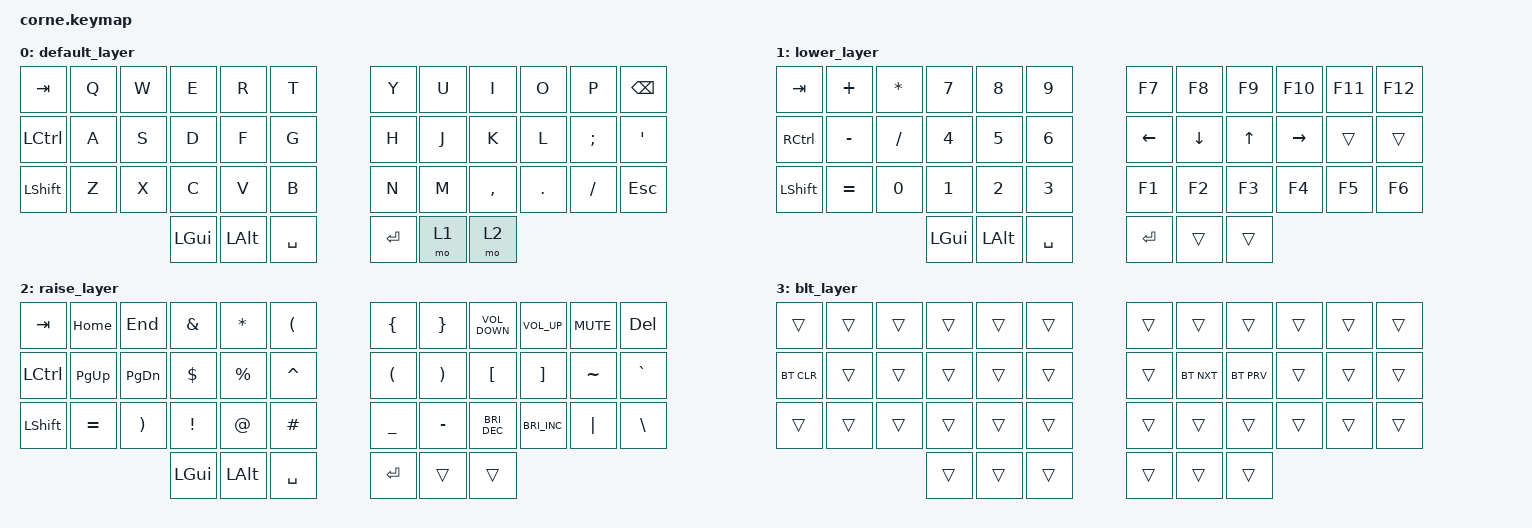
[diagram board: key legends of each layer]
/*
 * Copyright (c) 2020 The ZMK Contributors
 *
 * SPDX-License-Identifier: MIT
 */

#include <behaviors.dtsi>
#include <dt-bindings/zmk/bt.h>
#include <dt-bindings/zmk/keys.h>

/ {
    combos {
        compatible = "zmk,combos";

        blt_layer {
            bindings = <&mo 3>;
            key-positions = <40 41>;
        };
    };

    keymap {
        compatible = "zmk,keymap";

        default_layer {
            // -----------------------------------------------------------------------------------------
            // |  TAB |  Q  |  W  |  E  |  R  |  T  |   |  Y  |  U   |  I  |  O  |  P  | BKSP |
            // | CTRL |  A  |  S  |  D  |  F  |  G  |   |  H  |  J   |  K  |  L  |  ;  |  '   |
            // | SHFT |  Z  |  X  |  C  |  V  |  B  |   |  N  |  M   |  ,  |  .  |  /  | ESC  |
            //                    | GUI | LWR | SPC |   | ENT | RSE  | ALT |

            bindings = <
&kp TAB    &kp Q  &kp W  &kp E     &kp R         &kp T        &kp Y    &kp U  &kp I      &kp O    &kp P     &kp BSPC
&kp LCTRL  &kp A  &kp S  &kp D     &kp F         &kp G        &kp H    &kp J  &kp K      &kp L    &kp SEMI  &kp SQT
&kp LSHFT  &kp Z  &kp X  &kp C     &kp V         &kp B        &kp N    &kp M  &kp COMMA  &kp DOT  &kp FSLH  &kp ESC
                         &kp LGUI  &kp LEFT_ALT  &kp SPACE    &kp RET  &mo 1  &mo 2
            >;
        };

        lower_layer {
            // -----------------------------------------------------------------------------------------
            // |  TAB |  1  |  2  |  3  |  4  |  5  |   |  6  |  7  |  8  |  9  |  0  | BKSP |
            // | BTCLR| BT1 | BT2 | BT3 | BT4 | BT5 |   | LFT | DWN |  UP | RGT |     |      |
            // | SHFT |     |     |     |     |     |   |     |     |     |     |     |      |
            //                    | GUI |     | SPC |   | ENT |     | ALT |

            bindings = <
&kp TAB    &kp PLUS   &kp ASTERISK  &kp N7    &kp N8        &kp N9       &kp F7    &kp F8    &kp F9  &kp F10    &kp F11  &kp F12
&kp RCTRL  &kp MINUS  &kp SLASH     &kp N4    &kp N5        &kp N6       &kp LEFT  &kp DOWN  &kp UP  &kp RIGHT  &trans   &trans
&kp LSHFT  &kp EQUAL  &kp N0        &kp N1    &kp N2        &kp N3       &kp F1    &kp F2    &kp F3  &kp F4     &kp F5   &kp F6
                                    &kp LGUI  &kp LEFT_ALT  &kp SPACE    &kp RET   &trans    &trans
            >;
        };

        raise_layer {
            // -----------------------------------------------------------------------------------------
            // |  TAB |  !  |  @  |  #  |  $  |  %  |   |  ^  |  &  |  *  |  (  |  )  | BKSP |
            // | CTRL |     |     |     |     |     |   |  -  |  =  |  [  |  ]  |  \  |  `   |
            // | SHFT |     |     |     |     |     |   |  _  |  +  |  {  |  }  | "|" |  ~   |
            //                    | GUI |     | SPC |   | ENT |     | ALT |

            bindings = <
&kp TAB    &kp HOME     &kp END                &kp AMPERSAND    &kp ASTERISK  &kp LEFT_PARENTHESIS    &kp LEFT_BRACE        &kp RIGHT_BRACE        &kp C_VOLUME_DOWN  &kp C_VOLUME_UP  &kp C_MUTE  &kp DEL
&kp LCTRL  &kp PAGE_UP  &kp PAGE_DOWN          &kp DOLLAR       &kp PERCENT   &kp CARET               &kp LEFT_PARENTHESIS  &kp RIGHT_PARENTHESIS  &kp LBKT           &kp RBKT         &kp TILDE   &kp GRAVE
&kp LSHFT  &kp EQUAL    &kp RIGHT_PARENTHESIS  &kp EXCLAMATION  &kp AT_SIGN   &kp HASH                &kp UNDER             &kp MINUS              &kp C_BRI_DEC      &kp C_BRI_INC    &kp PIPE    &kp BACKSLASH
                                               &kp LGUI         &kp LEFT_ALT  &kp SPACE               &kp RET               &trans                 &trans
            >;
        };

        blt_layer {
            bindings = <
&trans      &trans  &trans  &trans  &trans  &trans    &trans  &trans      &trans      &trans  &trans  &trans
&bt BT_CLR  &trans  &trans  &trans  &trans  &trans    &trans  &bt BT_NXT  &bt BT_PRV  &trans  &trans  &trans
&trans      &trans  &trans  &trans  &trans  &trans    &trans  &trans      &trans      &trans  &trans  &trans
                            &trans  &trans  &trans    &trans  &trans      &trans
            >;
        };
    };
};
